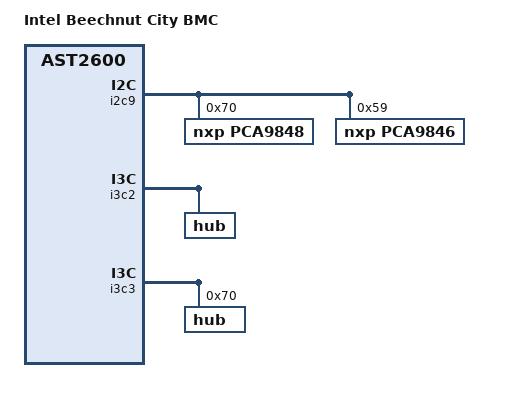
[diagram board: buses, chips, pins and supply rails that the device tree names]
// SPDX-License-Identifier: GPL-2.0
/dts-v1/;

#include "aspeed-bmc-intel-bhs.dtsi"

/ {
	model = "Intel Beechnut City BMC";
	compatible = "intel,bnc-bmc", "aspeed,ast2600";
	aliases {
		i2c16 = &i2c9_mux_ch7;
		i2c17 = &i2c9_mux_ch0;
		i2c22 = &i2c9_mux_ch4;
		i2c18 = &i2c9_mux0_ch0;
		i2c19 = &i2c9_mux0_ch1;
		i2c20 = &i2c9_mux0_ch2;
		i2c21 = &i2c9_mux0_ch3;
	};
};

&i2c9 {
	/*
	 * W/A: add SMBUS MUX via device tree instead of entity-manager
	 * to assign fixed numbers for buses behind MUX which can be referred
	 * later in platform configuration
	 */
	pca9848@70 {
		compatible = "nxp,pca9848";
		reg = <0x70>;
		i2c-mux-idle-disconnect;
		i2c9_mux_ch7: i2c@7 {
			reg = <7>;
		};
		i2c9_mux_ch0: i2c@0 {
			reg = <0>;
		};
		i2c9_mux_ch4: i2c@4 {
			reg = <4>;
		};
	};

	pca9846@59 {
		compatible = "nxp,pca9846";
		reg = <0x59>;
		i2c-mux-idle-disconnect;
		i2c9_mux0_ch0: i2c@0 {
			reg = <0>;
		};
		i2c9_mux0_ch1: i2c@1 {
			reg = <1>;
		};
		i2c9_mux0_ch2: i2c@2 {
			reg = <2>;
		};
		i2c9_mux0_ch3: i2c@3 {
			reg = <3>;
		};
	};
};

&i3c2 {
	/* I3C_MNG_LVC18 */

	hub@0,0 {
		cp0-ldo = "disabled";
		cp1-ldo = "disabled";
		tp0145-ldo = "disabled";
		tp2367-ldo = "disabled";
		tp0145-pullup = "2k";
		tp2367-pullup = "2k";
		tp0145-io-strength = "50Ohms";
		tp2367-io-strength = "50Ohms";

		target-port@0 {
			mode = "i3c";
			pullup = "enabled";
		};
		target-port@1 {
			mode = "disabled";
			pullup = "enabled";
		};
		target-port@2 {
			mode = "i3c";
			pullup = "enabled";
		};
		target-port@3 {
			mode = "disabled";
			pullup = "enabled";
		};
		target-port@4 {
			mode = "disabled";
			pullup = "enabled";
		};
		target-port@5 {
			mode = "disabled";
			pullup = "enabled";
		};
		target-port@6 {
			mode = "disabled";
			pullup = "enabled";
		};
		target-port@7 {
			mode = "disabled";
			pullup = "enabled";
		};
	};
};

&i3c3 {
	/* I3C_SPD_BMC */

	/* Renesas RG3MxxB12A0 */
	hub@70,3C000000100 {
		reg = <0x70 0x3C0 0x00000100>;
		assigned-address = <0x70>;
		dcr = <0xC2>;

		cp0-ldo = "disabled";
		cp1-ldo = "disabled";
		tp0145-ldo = "disabled";
		tp2367-ldo = "disabled";
		tp0145-pullup = "2k";
		tp2367-pullup = "2k";

		target-port@0 {
			mode = "i3c";
			pullup = "enabled";
		};
		target-port@1 {
			mode = "i3c";
			pullup = "enabled";
		};
		target-port@2 {
			mode = "i3c";
			pullup = "enabled";
		};
		target-port@3 {
			mode = "i3c";
			pullup = "enabled";
		};
		target-port@4 {
			mode = "disabled";
			pullup = "enabled";
		};
		target-port@5 {
			mode = "disabled";
			pullup = "enabled";
		};
		target-port@6 {
			mode = "disabled";
			pullup = "enabled";
		};
		target-port@7 {
			mode = "disabled";
			pullup = "enabled";
		};

		i3c0@01 {
			jdec-spd;
			/* Renesas SPD5118 */
			spd@50,3C000000000 {
				reg = <0x50 0x3C0 0x00000000>;
				assigned-address = <0x50>;
			};
			/* Renesas SPD5118 */
			spd@51,3C000000001 {
				reg = <0x51 0x3C0 0x00000001>;
				assigned-address = <0x51>;
			};
			/* Renesas SPD5118 */
			spd@52,3C000000002 {
				reg = <0x52 0x3C0 0x00000002>;
				assigned-address = <0x52>;
			};
			/* Renesas SPD5118 */
			spd@53,3C000000003 {
				reg = <0x53 0x3C0 0x00000003>;
				assigned-address = <0x53>;
			};
			/* Renesas SPD5118 */
			spd@54,3C000000004 {
				reg = <0x54 0x3C0 0x00000004>;
				assigned-address = <0x54>;
			};
			/* Renesas SPD5118 */
			spd@55,3C000000005 {
				reg = <0x55 0x3C0 0x00000005>;
				assigned-address = <0x55>;
			};
			/* Renesas SPD5118 */
			spd@56,3C000000006 {
				reg = <0x56 0x3C0 0x00000006>;
				assigned-address = <0x56>;
			};
			/* Renesas SPD5118 */
			spd@57,3C000000007 {
				reg = <0x57 0x3C0 0x00000007>;
				assigned-address = <0x57>;
			};
		};
		i3c1@02 {
			jdec-spd;
			/* Renesas SPD5118 */
			spd@50,3C000000000 {
				reg = <0x50 0x3C0 0x00000000>;
				assigned-address = <0x50>;
			};
			/* Renesas SPD5118 */
			spd@51,3C000000001 {
				reg = <0x51 0x3C0 0x00000001>;
				assigned-address = <0x51>;
			};
			/* Renesas SPD5118 */
			spd@52,3C000000002 {
				reg = <0x52 0x3C0 0x00000002>;
				assigned-address = <0x52>;
			};
			/* Renesas SPD5118 */
			spd@53,3C000000003 {
				reg = <0x53 0x3C0 0x00000003>;
				assigned-address = <0x53>;
			};
			/* Renesas SPD5118 */
			spd@54,3C000000004 {
				reg = <0x54 0x3C0 0x00000004>;
				assigned-address = <0x54>;
			};
			/* Renesas SPD5118 */
			spd@55,3C000000005 {
				reg = <0x55 0x3C0 0x00000005>;
				assigned-address = <0x55>;
			};
			/* Renesas SPD5118 */
			spd@56,3C000000006 {
				reg = <0x56 0x3C0 0x00000006>;
				assigned-address = <0x56>;
			};
			/* Renesas SPD5118 */
			spd@57,3C000000007 {
				reg = <0x57 0x3C0 0x00000007>;
				assigned-address = <0x57>;
			};
		};
		i3c2@04 {
			jdec-spd;
			/* Renesas SPD5118 */
			spd@50,3C000000000 {
				reg = <0x50 0x3C0 0x00000000>;
				assigned-address = <0x50>;
			};
			/* Renesas SPD5118 */
			spd@51,3C000000001 {
				reg = <0x51 0x3C0 0x00000001>;
				assigned-address = <0x51>;
			};
			/* Renesas SPD5118 */
			spd@52,3C000000002 {
				reg = <0x52 0x3C0 0x00000002>;
				assigned-address = <0x52>;
			};
			/* Renesas SPD5118 */
			spd@53,3C000000003 {
				reg = <0x53 0x3C0 0x00000003>;
				assigned-address = <0x53>;
			};
			/* Renesas SPD5118 */
			spd@54,3C000000004 {
				reg = <0x54 0x3C0 0x00000004>;
				assigned-address = <0x54>;
			};
			/* Renesas SPD5118 */
			spd@55,3C000000005 {
				reg = <0x55 0x3C0 0x00000005>;
				assigned-address = <0x55>;
			};
			/* Renesas SPD5118 */
			spd@56,3C000000006 {
				reg = <0x56 0x3C0 0x00000006>;
				assigned-address = <0x56>;
			};
			/* Renesas SPD5118 */
			spd@57,3C000000007 {
				reg = <0x57 0x3C0 0x00000007>;
				assigned-address = <0x57>;
			};
		};
		i3c3@08 {
			jdec-spd;
			/* Renesas SPD5118 */
			spd@50,3C000000000 {
				reg = <0x50 0x3C0 0x00000000>;
				assigned-address = <0x50>;
			};
			/* Renesas SPD5118 */
			spd@51,3C000000001 {
				reg = <0x51 0x3C0 0x00000001>;
				assigned-address = <0x51>;
			};
			/* Renesas SPD5118 */
			spd@52,3C000000002 {
				reg = <0x52 0x3C0 0x00000002>;
				assigned-address = <0x52>;
			};
			/* Renesas SPD5118 */
			spd@53,3C000000003 {
				reg = <0x53 0x3C0 0x00000003>;
				assigned-address = <0x53>;
			};
			/* Renesas SPD5118 */
			spd@54,3C000000004 {
				reg = <0x54 0x3C0 0x00000004>;
				assigned-address = <0x54>;
			};
			/* Renesas SPD5118 */
			spd@55,3C000000005 {
				reg = <0x55 0x3C0 0x00000005>;
				assigned-address = <0x55>;
			};
			/* Renesas SPD5118 */
			spd@56,3C000000006 {
				reg = <0x56 0x3C0 0x00000006>;
				assigned-address = <0x56>;
			};
			/* Renesas SPD5118 */
			spd@57,3C000000007 {
				reg = <0x57 0x3C0 0x00000007>;
				assigned-address = <0x57>;
			};
		};
	};
};
